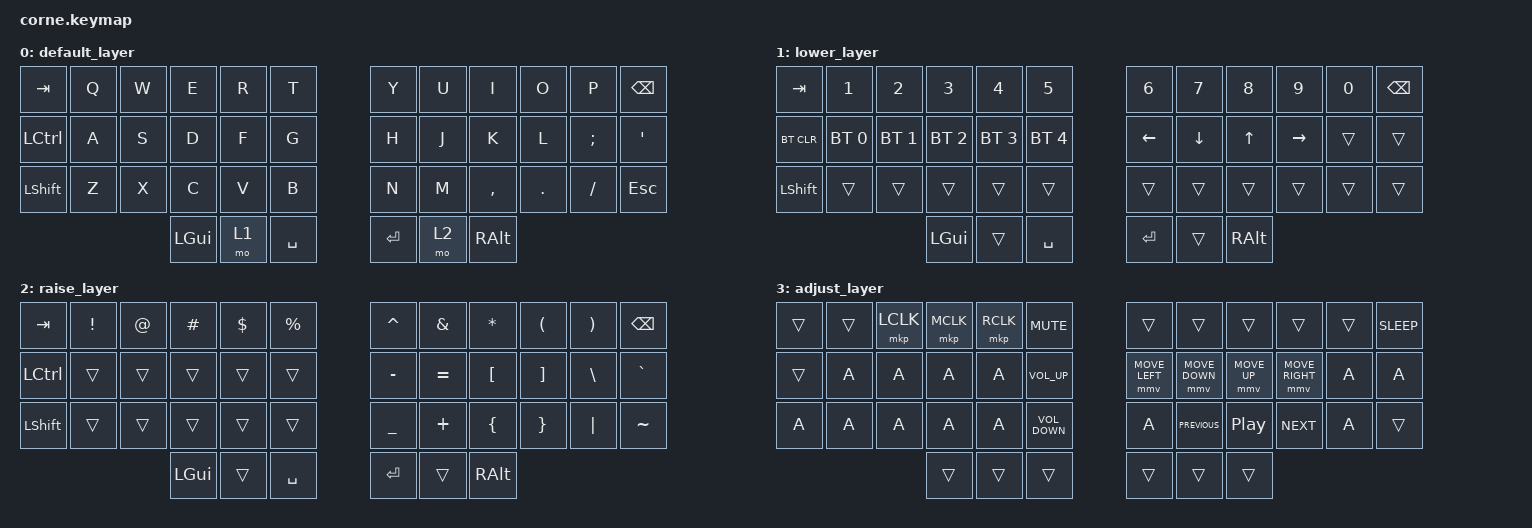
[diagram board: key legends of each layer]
/*
 * Copyright (c) 2020 The ZMK Contributors
 *
 * SPDX-License-Identifier: MIT
 */

#include <behaviors.dtsi>
#include <dt-bindings/zmk/pointing.h>
#include <dt-bindings/zmk/keys.h>
#include <dt-bindings/zmk/bt.h>

/ {
    conditional_layers {
        compatible = "zmk,conditional-layers";
        tri_layer {
            if-layers = <1 2>;  // Lower and Raise layers
            then-layer = <3>;   // Adjust layer
        };
    };
    keymap {
        compatible = "zmk,keymap";

        default_layer {
            bindings = <
                &kp TAB   &kp Q &kp W &kp E &kp R &kp T   &kp Y &kp U  &kp I     &kp O   &kp P    &kp BSPC
                &kp LCTRL &kp A &kp S &kp D &kp F &kp G   &kp H &kp J  &kp K     &kp L   &kp SEMI &kp SQT
                &kp LSHFT &kp Z &kp X &kp C &kp V &kp B   &kp N &kp M  &kp COMMA &kp DOT &kp FSLH &kp ESC
                          &kp LGUI &mo 1 &kp SPACE   &kp RET &mo 2 &kp RALT
            >;
        };

        lower_layer {
            bindings = <
                &kp TAB    &kp N1    &kp N2    &kp N3    &kp N4    &kp N5      &kp N6   &kp N7   &kp N8    &kp N9    &kp N0  &kp BSPC
                &bt BT_CLR &bt BT_SEL 0 &bt BT_SEL 1 &bt BT_SEL 2 &bt BT_SEL 3 &bt BT_SEL 4   &kp LEFT &kp DOWN &kp UP &kp RIGHT &trans &trans
                &kp LSHFT  &trans    &trans    &trans    &trans    &trans      &trans   &trans   &trans   &trans    &trans   &trans
                          &kp LGUI &trans   &kp SPACE      &kp RET  &trans   &kp RALT
            >;
        };

        raise_layer {
            bindings = <
                &kp TAB  &kp EXCL &kp AT &kp HASH &kp DLLR &kp PRCNT   &kp CARET &kp AMPS  &kp STAR &kp LPAR &kp RPAR &kp BSPC
                &kp LCTRL &trans  &trans &trans   &trans   &trans      &kp MINUS &kp EQUAL &kp LBKT  &kp RBKT &kp BSLH &kp GRAVE
                &kp LSHFT &trans  &trans &trans   &trans   &trans      &kp UNDER &kp PLUS  &kp LBRC  &kp RBRC &kp PIPE &kp TILDE
                          &kp LGUI &trans   &kp SPACE   &kp RET   &trans    &kp RALT
            >;
        };

        adjust_layer {
             bindings = <
                &trans  &trans  &mkp LCLK  &mkp MCLK  &mkp RCLK  &kp K_MUTE           &trans          &trans          &trans            &trans           &trans  &kp C_SLEEP
                &trans  &kp A  &kp A     &kp A     &kp A     &kp C_VOLUME_UP      &mmv MOVE_LEFT  &mmv MOVE_DOWN  &mmv MOVE_UP      &mmv MOVE_RIGHT  &kp A  &kp A
                &kp A  &kp A  &kp A     &kp A     &kp A     &kp C_VOLUME_DOWN    &kp A          &kp C_PREVIOUS  &kp C_PLAY_PAUSE  &kp C_NEXT       &kp A  &trans
                          &trans     &trans     &trans               &trans          &trans          &trans
            >;
        };
    };

    chosen {
        zmk,battery = &vbatt;
        zmk,deep-sleep = <300000>;    // 5 minutes to deep sleep
    };

    vbatt: vbatt {
        compatible = "zmk,battery-nrf-vddh";
        label = "BATTERY";
    };

};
